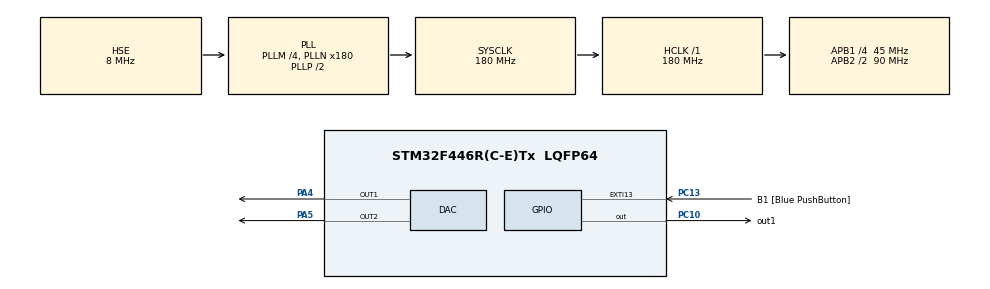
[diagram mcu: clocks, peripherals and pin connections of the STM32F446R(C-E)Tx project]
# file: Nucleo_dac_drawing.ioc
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DAC.DAC_Trigger=DAC_TRIGGER_SOFTWARE
DAC.DAC_Trigger2=DAC_TRIGGER_SOFTWARE
Dma.DAC1.0.Direction=DMA_MEMORY_TO_PERIPH
Dma.DAC1.0.FIFOMode=DMA_FIFOMODE_DISABLE
Dma.DAC1.0.Instance=DMA1_Stream5
Dma.DAC1.0.MemDataAlignment=DMA_MDATAALIGN_HALFWORD
Dma.DAC1.0.MemInc=DMA_MINC_ENABLE
Dma.DAC1.0.Mode=DMA_CIRCULAR
Dma.DAC1.0.PeriphDataAlignment=DMA_PDATAALIGN_HALFWORD
Dma.DAC1.0.PeriphInc=DMA_PINC_DISABLE
Dma.DAC1.0.Priority=DMA_PRIORITY_HIGH
Dma.DAC2.1.Direction=DMA_MEMORY_TO_PERIPH
Dma.DAC2.1.FIFOMode=DMA_FIFOMODE_DISABLE
Dma.DAC2.1.Instance=DMA1_Stream6
Dma.DAC2.1.MemDataAlignment=DMA_MDATAALIGN_HALFWORD
Dma.DAC2.1.MemInc=DMA_MINC_ENABLE
Dma.DAC2.1.Mode=DMA_CIRCULAR
Dma.DAC2.1.PeriphDataAlignment=DMA_PDATAALIGN_HALFWORD
Dma.DAC2.1.PeriphInc=DMA_PINC_DISABLE
Dma.DAC2.1.Priority=DMA_PRIORITY_HIGH
Dma.Request0=DAC1
Dma.Request1=DAC2
Mcu.Family=STM32F4
Mcu.Name=STM32F446R(C-E)Tx
Mcu.Package=LQFP64
NVIC.DMA1_Stream5_IRQn=true\:0\:0\:false\:false\:true\:false\:true
NVIC.DMA1_Stream6_IRQn=true\:0\:0\:false\:false\:true\:false\:true
NVIC.PriorityGroup=NVIC_PRIORITYGROUP_0
NVIC.TIM6_DAC_IRQn=true\:0\:0\:false\:false\:true\:true\:true
NVIC.TIM7_IRQn=true\:0\:0\:false\:false\:true\:true\:true
PA13.GPIO_Label=TMS
PA13.Mode=Trace_Asynchronous_SW
PA13.Signal=SYS_JTMS-SWDIO
PA14.GPIO_Label=TCK
PA14.Mode=Trace_Asynchronous_SW
PA14.Signal=SYS_JTCK-SWCLK
PA2.GPIO_Label=USART_TX
PA2.Signal=USART2_TX
PA3.GPIO_Label=USART_RX
PA3.Signal=USART2_RX
PA4.Signal=COMP_DAC1_group
PA5.Signal=COMP_DAC2_group
PB3.GPIO_Label=SWO
PB3.Mode=Trace_Asynchronous_SW
PB3.Signal=SYS_JTDO-SWO
PC10.GPIO_Label=out1
PC10.Signal=GPIO_Output
PC13.GPIO_Label=B1 [Blue PushButton]
PC13.GPIO_ModeDefaultEXTI=GPIO_MODE_IT_FALLING
PC13.Signal=GPXTI13
PC14-OSC32_IN.Signal=RCC_OSC32_IN
PC15-OSC32_OUT.Signal=RCC_OSC32_OUT
PH0-OSC_IN.Mode=HSE-External-Oscillator
PH0-OSC_IN.Signal=RCC_OSC_IN
PH1-OSC_OUT.Mode=HSE-External-Oscillator
PH1-OSC_OUT.Signal=RCC_OSC_OUT
ProjectManager.HeapSize=0x200
ProjectManager.StackSize=0x400
ProjectManager.TargetToolchain=TrueSTUDIO
RCC.AHBFreq_Value=180000000
RCC.APB1CLKDivider=RCC_HCLK_DIV4
RCC.APB1Freq_Value=45000000
RCC.APB1TimFreq_Value=90000000
RCC.APB2CLKDivider=RCC_HCLK_DIV2
RCC.APB2Freq_Value=90000000
RCC.APB2TimFreq_Value=180000000
RCC.CortexFreq_Value=180000000
RCC.FLatency-AdvancedSettings=FLASH_LATENCY_5
RCC.HCLKFreq_Value=180000000
RCC.HSE_VALUE=8000000
RCC.HSI_VALUE=16000000
RCC.LSE_VALUE=32768
RCC.PLLM=4
RCC.PLLN=180
RCC.PLLSourceVirtual=RCC_PLLSOURCE_HSE
RCC.SYSCLKFreq_VALUE=180000000
RCC.SYSCLKSource=RCC_SYSCLKSOURCE_PLLCLK
RCC.USBFreq_Value=180000000
RCC.VCOOutputFreq_Value=360000000
SH.COMP_DAC1_group.0=DAC_OUT1,DAC_OUT1
SH.COMP_DAC2_group.0=DAC_OUT2,DAC_OUT2
TIM7.AutoReloadPreload=TIM_AUTORELOAD_PRELOAD_ENABLE
TIM7.Period=80
TIM7.Prescaler=0
TIM7.TIM_MasterOutputTrigger=TIM_TRGO_UPDATE
VP_TIM7_VS_ClockSourceINT.Mode=Enable_Timer
board=NUCLEO-F446RE

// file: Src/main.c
/* USER CODE BEGIN Header */
/**
  ******************************************************************************
  * @file           : main.c
  * @brief          : Main program body
  ******************************************************************************
  * @attention
  *
  * <h2><center>&copy; Copyright (c) 2019 STMicroelectronics.
  * All rights reserved.</center></h2>
  *
  * This software component is licensed by ST under BSD 3-Clause license,
  * the "License"; You may not use this file except in compliance with the
  * License. You may obtain a copy of the License at:
  *                        opensource.org/licenses/BSD-3-Clause
  *
  ******************************************************************************
  */
/* USER CODE END Header */

#include "main.h"

/* USER CODE BEGIN Includes */
#include "math.h"
/* USER CODE END Includes */

DAC_HandleTypeDef hdac;
DMA_HandleTypeDef hdma_dac1;
DMA_HandleTypeDef hdma_dac2;

TIM_HandleTypeDef htim7;

/* USER CODE BEGIN PV */
#define FUN_RES 1000
uint16_t fun1[FUN_RES], fun2[FUN_RES];
double omega1 = 9.0;
double omega2 = 8.0;
double A = 1500;
double B = 1500;
double psi = 3.141592/2.0;
/* USER CODE END PV */

void SystemClock_Config(void);
static void MX_GPIO_Init(void);
static void MX_DMA_Init(void);
static void MX_DAC_Init(void);
static void MX_TIM7_Init(void);
/* USER CODE BEGIN PFP */
void FunctionCalculate();
/* USER CODE END PFP */

int main(void)
{

  /* MCU Configuration--------------------------------------------------------*/

  /* Reset of all peripherals, Initializes the Flash interface and the Systick. */
  HAL_Init();

  /* Configure the system clock */
  SystemClock_Config();

  /* Initialize all configured peripherals */
  MX_GPIO_Init();
  MX_DMA_Init();
  MX_DAC_Init();
  MX_TIM7_Init();
  /* USER CODE BEGIN 2 */
  HAL_DAC_Start(&hdac, DAC_CHANNEL_1);
  HAL_DAC_Start(&hdac, DAC_CHANNEL_2);
  //FunctionCalculate();
  //HAL_DAC_Start_DMA( &hdac, DAC_CHANNEL_1, fun1, FUN_RES, DAC_ALIGN_12B_R );
  //HAL_DAC_Start_DMA( &hdac, DAC_CHANNEL_2, fun2, FUN_RES, DAC_ALIGN_12B_R );
  HAL_TIM_Base_Start_IT(&htim7);
  /* USER CODE END 2 */

  /* Infinite loop */
  while (1)
  {

  }
}

void SystemClock_Config(void)
{
  RCC_OscInitTypeDef RCC_OscInitStruct = {0};
  RCC_ClkInitTypeDef RCC_ClkInitStruct = {0};

  /** Configure the main internal regulator output voltage
  */
  __HAL_RCC_PWR_CLK_ENABLE();
  __HAL_PWR_VOLTAGESCALING_CONFIG(PWR_REGULATOR_VOLTAGE_SCALE1);
  /** Initializes the CPU, AHB and APB busses clocks
  */
  RCC_OscInitStruct.OscillatorType = RCC_OSCILLATORTYPE_HSE;
  RCC_OscInitStruct.HSEState = RCC_HSE_ON;
  RCC_OscInitStruct.PLL.PLLState = RCC_PLL_ON;
  RCC_OscInitStruct.PLL.PLLSource = RCC_PLLSOURCE_HSE;
  RCC_OscInitStruct.PLL.PLLM = 4;
  RCC_OscInitStruct.PLL.PLLN = 180;
  RCC_OscInitStruct.PLL.PLLP = RCC_PLLP_DIV2;
  RCC_OscInitStruct.PLL.PLLQ = 2;
  RCC_OscInitStruct.PLL.PLLR = 2;
  if (HAL_RCC_OscConfig(&RCC_OscInitStruct) != HAL_OK)
  {
    Error_Handler();
  }
  /** Activate the Over-Drive mode
  */
  if (HAL_PWREx_EnableOverDrive() != HAL_OK)
  {
    Error_Handler();
  }
  /** Initializes the CPU, AHB and APB busses clocks
  */
  RCC_ClkInitStruct.ClockType = RCC_CLOCKTYPE_HCLK|RCC_CLOCKTYPE_SYSCLK
                              |RCC_CLOCKTYPE_PCLK1|RCC_CLOCKTYPE_PCLK2;
  RCC_ClkInitStruct.SYSCLKSource = RCC_SYSCLKSOURCE_PLLCLK;
  RCC_ClkInitStruct.AHBCLKDivider = RCC_SYSCLK_DIV1;
  RCC_ClkInitStruct.APB1CLKDivider = RCC_HCLK_DIV4;
  RCC_ClkInitStruct.APB2CLKDivider = RCC_HCLK_DIV2;

  if (HAL_RCC_ClockConfig(&RCC_ClkInitStruct, FLASH_LATENCY_5) != HAL_OK)
  {
    Error_Handler();
  }
}

static void MX_DAC_Init(void)
{

  DAC_ChannelConfTypeDef sConfig = {0};

  /** DAC Initialization
  */
  hdac.Instance = DAC;
  if (HAL_DAC_Init(&hdac) != HAL_OK)
  {
    Error_Handler();
  }
  /** DAC channel OUT1 config
  */
  sConfig.DAC_Trigger = DAC_TRIGGER_SOFTWARE;
  sConfig.DAC_OutputBuffer = DAC_OUTPUTBUFFER_ENABLE;
  if (HAL_DAC_ConfigChannel(&hdac, &sConfig, DAC_CHANNEL_1) != HAL_OK)
  {
    Error_Handler();
  }
  /** DAC channel OUT2 config
  */
  if (HAL_DAC_ConfigChannel(&hdac, &sConfig, DAC_CHANNEL_2) != HAL_OK)
  {
    Error_Handler();
  }

}

static void MX_TIM7_Init(void)
{

  TIM_MasterConfigTypeDef sMasterConfig = {0};

  htim7.Instance = TIM7;
  htim7.Init.Prescaler = 0;
  htim7.Init.CounterMode = TIM_COUNTERMODE_UP;
  htim7.Init.Period = 80;
  htim7.Init.AutoReloadPreload = TIM_AUTORELOAD_PRELOAD_ENABLE;
  if (HAL_TIM_Base_Init(&htim7) != HAL_OK)
  {
    Error_Handler();
  }
  sMasterConfig.MasterOutputTrigger = TIM_TRGO_UPDATE;
  sMasterConfig.MasterSlaveMode = TIM_MASTERSLAVEMODE_DISABLE;
  if (HAL_TIMEx_MasterConfigSynchronization(&htim7, &sMasterConfig) != HAL_OK)
  {
    Error_Handler();
  }

}

static void MX_DMA_Init(void)
{
  /* DMA controller clock enable */
  __HAL_RCC_DMA1_CLK_ENABLE();

  /* DMA interrupt init */
  /* DMA1_Stream5_IRQn interrupt configuration */
  HAL_NVIC_SetPriority(DMA1_Stream5_IRQn, 0, 0);
  HAL_NVIC_EnableIRQ(DMA1_Stream5_IRQn);
  /* DMA1_Stream6_IRQn interrupt configuration */
  HAL_NVIC_SetPriority(DMA1_Stream6_IRQn, 0, 0);
  HAL_NVIC_EnableIRQ(DMA1_Stream6_IRQn);

}

static void MX_GPIO_Init(void)
{
  GPIO_InitTypeDef GPIO_InitStruct = {0};

  /* GPIO Ports Clock Enable */
  __HAL_RCC_GPIOC_CLK_ENABLE();
  __HAL_RCC_GPIOH_CLK_ENABLE();
  __HAL_RCC_GPIOA_CLK_ENABLE();
  __HAL_RCC_GPIOB_CLK_ENABLE();

  /*Configure GPIO pin Output Level */
  HAL_GPIO_WritePin(out1_GPIO_Port, out1_Pin, GPIO_PIN_RESET);

  /*Configure GPIO pin : B1_Pin */
  GPIO_InitStruct.Pin = B1_Pin;
  GPIO_InitStruct.Mode = GPIO_MODE_IT_FALLING;
  GPIO_InitStruct.Pull = GPIO_NOPULL;
  HAL_GPIO_Init(B1_GPIO_Port, &GPIO_InitStruct);

  /*Configure GPIO pins : USART_TX_Pin USART_RX_Pin */
  GPIO_InitStruct.Pin = USART_TX_Pin|USART_RX_Pin;
  GPIO_InitStruct.Mode = GPIO_MODE_AF_PP;
  GPIO_InitStruct.Pull = GPIO_NOPULL;
  GPIO_InitStruct.Speed = GPIO_SPEED_FREQ_VERY_HIGH;
  GPIO_InitStruct.Alternate = GPIO_AF7_USART2;
  HAL_GPIO_Init(GPIOA, &GPIO_InitStruct);

  /*Configure GPIO pin : out1_Pin */
  GPIO_InitStruct.Pin = out1_Pin;
  GPIO_InitStruct.Mode = GPIO_MODE_OUTPUT_PP;
  GPIO_InitStruct.Pull = GPIO_NOPULL;
  GPIO_InitStruct.Speed = GPIO_SPEED_FREQ_LOW;
  HAL_GPIO_Init(out1_GPIO_Port, &GPIO_InitStruct);

}

/* USER CODE BEGIN 4 */
void FunctionCalculate()
{
	double step1 = omega1 * 2*3.141592 / FUN_RES;
	double step2 = omega2 * 2*3.141592 / FUN_RES;
	for( int i = 0; i < FUN_RES; i++ )
	{
		fun1[i] = 2000 + (int16_t)( A * sin( (double)i * step1 + psi ) );
		fun2[i] = 2000 + (int16_t)( B * sin( (double)i * step2 ) );
	}
}
/* USER CODE END 4 */

void Error_Handler(void)
{
}

/************************ (C) COPYRIGHT STMicroelectronics *****END OF FILE****/
